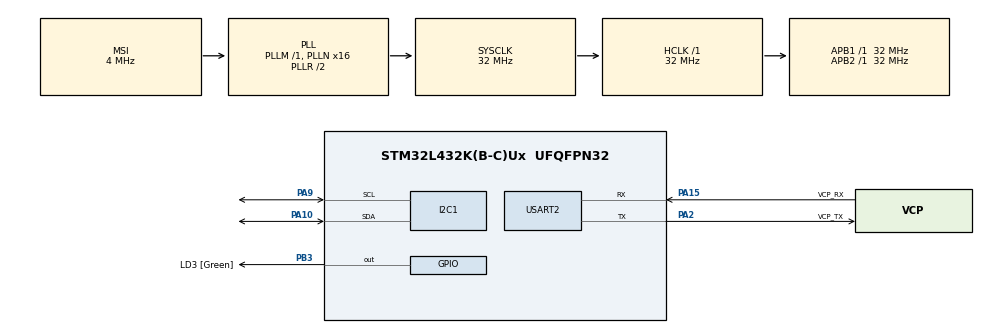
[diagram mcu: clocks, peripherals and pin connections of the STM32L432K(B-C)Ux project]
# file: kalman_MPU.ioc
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I2C1.Timing=0x00707CBB
Mcu.Family=STM32L4
Mcu.Name=STM32L432K(B-C)Ux
Mcu.Package=UFQFPN32
NVIC.I2C1_ER_IRQn=true\:0\:0\:false\:false\:true\:true\:true\:true
NVIC.I2C1_EV_IRQn=true\:0\:0\:false\:false\:true\:true\:true\:true
NVIC.PriorityGroup=NVIC_PRIORITYGROUP_4
NVIC.USART2_IRQn=true\:0\:0\:false\:false\:true\:true\:true\:true
PA0.GPIO_Label=MCO [High speed clock in]
PA0.Signal=RCC_CK_IN
PA10.Mode=I2C
PA10.Signal=I2C1_SDA
PA13\ (JTMS-SWDIO).GPIO_Label=SWDIO
PA13\ (JTMS-SWDIO).Mode=Serial_Wire
PA13\ (JTMS-SWDIO).Signal=SYS_JTMS-SWDIO
PA14\ (JTCK-SWCLK).GPIO_Label=SWCLK
PA14\ (JTCK-SWCLK).Mode=Serial_Wire
PA14\ (JTCK-SWCLK).Signal=SYS_JTCK-SWCLK
PA15\ (JTDI).GPIO_Label=VCP_RX
PA15\ (JTDI).Mode=Asynchronous
PA15\ (JTDI).Signal=USART2_RX
PA2.GPIO_Label=VCP_TX
PA2.Mode=Asynchronous
PA2.Signal=USART2_TX
PA9.Mode=I2C
PA9.Signal=I2C1_SCL
PB3\ (JTDO-TRACESWO).GPIO_Label=LD3 [Green]
PB3\ (JTDO-TRACESWO).Signal=GPIO_Output
PC14-OSC32_IN\ (PC14).Signal=RCC_OSC32_IN
PC15-OSC32_OUT\ (PC15).Signal=RCC_OSC32_OUT
ProjectManager.HeapSize=0x200
ProjectManager.StackSize=0x400
ProjectManager.TargetToolchain=STM32CubeIDE
RCC.AHBFreq_Value=32000000
RCC.APB1Freq_Value=32000000
RCC.APB1TimFreq_Value=32000000
RCC.APB2Freq_Value=32000000
RCC.APB2TimFreq_Value=32000000
RCC.CortexFreq_Value=32000000
RCC.HCLKFreq_Value=32000000
RCC.HSE_VALUE=8000000
RCC.HSI16_VALUE=16000000
RCC.HSI48_VALUE=48000000
RCC.HSI_VALUE=16000000
RCC.MSI_VALUE=4000000
RCC.PLLMUL=RCC_PLLMUL_4
RCC.PLLN=16
RCC.SYSCLKFreq_VALUE=32000000
RCC.SYSCLKSource=RCC_SYSCLKSOURCE_PLLCLK
RCC.VCOOutputFreq_Value=64000000
USART2.VirtualMode-Asynchronous=VM_ASYNC
board=NUCLEO-L432KC

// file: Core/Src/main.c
/* USER CODE BEGIN Header */
/**
  ******************************************************************************
  * @file           : main.c
  * @brief          : Main program body
  ******************************************************************************
  * @attention
  *
  * Copyright (c) 2023 STMicroelectronics.
  * All rights reserved.
  *
  * This software is licensed under terms that can be found in the LICENSE file
  * in the root directory of this software component.
  * If no LICENSE file comes with this software, it is provided AS-IS.
  *
  ******************************************************************************
  */
/* USER CODE END Header */
#include "main.h"

/* USER CODE BEGIN Includes */
#include "MPU6050.h"
#include "math.h"
#define _USE_MATH_DEFINES
#include "micros.h"
#include <stdio.h>
/* USER CODE END Includes */

I2C_HandleTypeDef hi2c1;

UART_HandleTypeDef huart2;

void SystemClock_Config(void);
static void MX_GPIO_Init(void);
static void MX_USART2_UART_Init(void);
static void MX_I2C1_Init(void);

/* USER CODE BEGIN 0 */
#ifdef __GNUC__

#define PUTCHAR_PROTOTYPE int __io_putchar(int ch)
#else
#define PUTCHAR_PROTOTYPE int fputc(int ch, FILE *f)
#endif /*__GNUC__*/
PUTCHAR_PROTOTYPE
{

	HAL_UART_Transmit(&huart2,(uint8_t*)&ch, 1 ,0xFFFF);

	return ch;

}
int16_t Ac_X0, Ac_Y0, Ac_Z0, Gy_X0, Gy_Y0, Gy_Z0;
uint8_t MPU6050 = 0;
//#define MPU6050  MPU6050_DEFAULT_ADDRESS

void MPU6050_Write(uint8_t Address, uint8_t data){
  HAL_I2C_Mem_Write(&hi2c1, MPU6050, Address, 1, (uint8_t *)&data, 1, 10);
}

void MPU6050_Write_bits(uint8_t Address, uint8_t bitStart, uint8_t length, uint8_t data){
  uint8_t tmp = 0;
  HAL_I2C_Mem_Read(&hi2c1, MPU6050, Address, 1, (uint8_t *)&tmp, 1, 10);
  uint8_t mask = 0;
  switch(length){
    case 1: mask = 0x01; break;
    case 2: mask = 0x03; break;
    case 3: mask = 0x07; break;
    case 4: mask = 0x0F; break;
    case 5: mask = 0x1F; break;
    case 6: mask = 0x3F; break;
    case 7: mask = 0x7F; break;
    case 8: mask = 0xFF; break;
  }
  tmp &= ~(mask << bitStart);
  tmp |= (data << bitStart);
  HAL_I2C_Mem_Write(&hi2c1, MPU6050, Address, 1, (uint8_t *)&tmp, 1, 10);
}

uint8_t MPU6050_Read(uint8_t Address){
  uint8_t data;
  HAL_I2C_Mem_Read(&hi2c1, MPU6050, Address, 1, (uint8_t *)&data, 1, 10);
  return data;
}

void init_MPU6050(void){
  while(HAL_I2C_IsDeviceReady(&hi2c1, MPU6050, 10, 1000)!=HAL_OK) {
    MPU6050++;
  }
  printf("MPU6050 I2C Address is 0x%02X(7bit value)\r\n", MPU6050>>1);

  uint8_t temp = MPU6050_Read(MPU6050_RA_WHO_AM_I);
  printf("Who am I = 0x%02X\r\n", temp);
  printf("MPU6050 Initialize..... \r\n");
  printf("--------------------------------------------------------\r\n");

  HAL_Delay(100);
  /* Power Management 1, SLEEP Diasble*/
  MPU6050_Write_bits(MPU6050_RA_PWR_MGMT_1, MPU6050_PWR1_SLEEP_BIT, MPU6050_PWR1_SLEEP_LENGTH, DISABLE);
  HAL_Delay(10);
  /* Power Management 1, Internal 8MHz oscillator */
  MPU6050_Write_bits(MPU6050_RA_PWR_MGMT_1, MPU6050_PWR1_CLKSEL_BIT, MPU6050_PWR1_CLKSEL_LENGTH, MPU6050_CLOCK_INTERNAL);
  /* Gyroscope Configuration, ± 250 °/s, 131 LSB/°/s */
  MPU6050_Write_bits(MPU6050_RA_GYRO_CONFIG, MPU6050_GCONFIG_FS_SEL_BIT, MPU6050_GCONFIG_FS_SEL_LENGTH, MPU6050_GYRO_FS_250);
  /* Accelerometer Configuration, ± 2g, 16384 LSB/g */
  MPU6050_Write_bits(MPU6050_RA_ACCEL_CONFIG, MPU6050_ACONFIG_AFS_SEL_BIT, MPU6050_ACONFIG_AFS_SEL_LENGTH, MPU6050_ACCEL_FS_2);
}

void read_MPU6050_data(void){
  Ac_X0 = (MPU6050_Read(MPU6050_RA_ACCEL_XOUT_H)<<8) | MPU6050_Read(MPU6050_RA_ACCEL_XOUT_L);
  Ac_Y0 = (MPU6050_Read(MPU6050_RA_ACCEL_YOUT_H)<<8) | MPU6050_Read(MPU6050_RA_ACCEL_YOUT_L);
  Ac_Z0 = (MPU6050_Read(MPU6050_RA_ACCEL_ZOUT_H)<<8) | MPU6050_Read(MPU6050_RA_ACCEL_ZOUT_L);
  Gy_X0 = (MPU6050_Read(MPU6050_RA_GYRO_XOUT_H)<<8) | MPU6050_Read(MPU6050_RA_GYRO_XOUT_L);
  Gy_Y0 = (MPU6050_Read(MPU6050_RA_GYRO_YOUT_H)<<8) | MPU6050_Read(MPU6050_RA_GYRO_YOUT_L);
  Gy_Z0 = (MPU6050_Read(MPU6050_RA_GYRO_ZOUT_H)<<8) | MPU6050_Read(MPU6050_RA_GYRO_ZOUT_L);
}

int _write(int32_t file, uint8_t *ptr, int32_t len){
  HAL_UART_Transmit(&huart2, ptr, len, 10);
  return len;
}
//칼만 필터 관련 변수 및 함수
double Q_angle, Q_gyro, R_measure ;
double angle, bias ;
double P[2][2], K[2] ;
double deg,dgy_y;
double dt;
double val;
double getkalman(double acc, double gyro, double dt)
{
	//project the state ahead

	      angle += dt * (gyro - bias) ;

	      //Project the error covariance ahead

	      P[0][0] += dt * (dt * P[1][1] - P[0][1] - P[1][0] + Q_angle) ;

	      P[0][1] -= dt * P[1][1] ;

	      P[1][0] -= dt * P[1][1] ;

	      P[1][1] += Q_gyro * dt ;

	      //Compute the Kalman gain

	      double S = P[0][0] + R_measure ;

	      K[0] = P[0][0] / S ;

	      K[1] = P[1][0] / S ;

	      //Update estimate with measurement z

	      double y = acc - angle ;

	      angle += K[0] * y ;

	      bias += K[1] * y ;

	      //Update the error covariance

	      double P_temp[2] = {P[0][0], P[0][1]} ;

	      P[0][0] -= K[0] * P_temp[0] ;

	      P[0][1] -= K[0] * P_temp[1] ;

	      P[1][0] -= K[1] * P_temp[0] ;

	      P[1][1] -= K[1] * P_temp[1] ;

	      return angle ;
}
double getvar(int num)
{
    switch (num) {
      case 0 :
    	  return Q_angle ;
    	  break ;

      case 1 :
    	  return Q_gyro ;
    	  break ;

      case 2 :
    	  return R_measure ;
    	  break ;

    }
}
void kal_init(double angle, double gyro, double measure)
{
	Q_angle = angle ;
	Q_gyro = gyro ;
	R_measure = measure ;

	angle = 0 ;
	bias = 0 ;

	P[0][0] = 0 ;
	P[0][1] = 0 ;
	P[1][0] = 0 ;
	P[1][1] = 0 ;
}

/* USER CODE END 0 */

int main(void)
{

  /* MCU Configuration--------------------------------------------------------*/

  /* Reset of all peripherals, Initializes the Flash interface and the Systick. */
  HAL_Init();

  /* USER CODE BEGIN Init */
  uint32_t pasttime = 0;

  /* USER CODE END Init */

  /* Configure the system clock */
  SystemClock_Config();

  /* Initialize all configured peripherals */
  MX_GPIO_Init();
  MX_USART2_UART_Init();
  MX_I2C1_Init();
  /* USER CODE BEGIN 2 */
  init_MPU6050();
  DWT_Init();
  kal_init(0.001, 0.003, 0.03);
  /* USER CODE END 2 */

  /* Infinite loop */
  /* USER CODE BEGIN WHILE */
  while (1)
  {
	  	 static uint16_t cnt=1;
	     HAL_GPIO_WritePin(LD3_GPIO_Port, LD3_Pin, GPIO_PIN_SET);
	     read_MPU6050_data();
	     deg = atan2(Ac_X0,Ac_Z0)*180/M_PI;// acc data to degree data
	     dgy_y = Gy_Y0/131.;				   // gyro output to

	     dt = (double)(micros()-pasttime)/1000000;
	     pasttime = micros();
	     val = getkalman(deg, dgy_y, dt);//get kalman data
	     printf("kalman degree : %5.2f , dt = %5.4f\r\n",val,dt);

	     HAL_GPIO_WritePin(LD3_GPIO_Port, LD3_Pin, GPIO_PIN_RESET);
	     HAL_Delay(5);
	     if(++cnt>20) cnt=20;
    /* USER CODE END WHILE */

  }
}

void SystemClock_Config(void)
{
  RCC_OscInitTypeDef RCC_OscInitStruct = {0};
  RCC_ClkInitTypeDef RCC_ClkInitStruct = {0};

  /** Configure the main internal regulator output voltage
  */
  if (HAL_PWREx_ControlVoltageScaling(PWR_REGULATOR_VOLTAGE_SCALE1) != HAL_OK)
  {
    Error_Handler();
  }

  /** Initializes the RCC Oscillators according to the specified parameters
  * in the RCC_OscInitTypeDef structure.
  */
  RCC_OscInitStruct.OscillatorType = RCC_OSCILLATORTYPE_MSI;
  RCC_OscInitStruct.MSIState = RCC_MSI_ON;
  RCC_OscInitStruct.MSICalibrationValue = 0;
  RCC_OscInitStruct.MSIClockRange = RCC_MSIRANGE_6;
  RCC_OscInitStruct.PLL.PLLState = RCC_PLL_ON;
  RCC_OscInitStruct.PLL.PLLSource = RCC_PLLSOURCE_MSI;
  RCC_OscInitStruct.PLL.PLLM = 1;
  RCC_OscInitStruct.PLL.PLLN = 16;
  RCC_OscInitStruct.PLL.PLLP = RCC_PLLP_DIV7;
  RCC_OscInitStruct.PLL.PLLQ = RCC_PLLQ_DIV2;
  RCC_OscInitStruct.PLL.PLLR = RCC_PLLR_DIV2;
  if (HAL_RCC_OscConfig(&RCC_OscInitStruct) != HAL_OK)
  {
    Error_Handler();
  }

  /** Initializes the CPU, AHB and APB buses clocks
  */
  RCC_ClkInitStruct.ClockType = RCC_CLOCKTYPE_HCLK|RCC_CLOCKTYPE_SYSCLK
                              |RCC_CLOCKTYPE_PCLK1|RCC_CLOCKTYPE_PCLK2;
  RCC_ClkInitStruct.SYSCLKSource = RCC_SYSCLKSOURCE_PLLCLK;
  RCC_ClkInitStruct.AHBCLKDivider = RCC_SYSCLK_DIV1;
  RCC_ClkInitStruct.APB1CLKDivider = RCC_HCLK_DIV1;
  RCC_ClkInitStruct.APB2CLKDivider = RCC_HCLK_DIV1;

  if (HAL_RCC_ClockConfig(&RCC_ClkInitStruct, FLASH_LATENCY_1) != HAL_OK)
  {
    Error_Handler();
  }
}

static void MX_I2C1_Init(void)
{

  hi2c1.Instance = I2C1;
  hi2c1.Init.Timing = 0x00707CBB;
  hi2c1.Init.OwnAddress1 = 0;
  hi2c1.Init.AddressingMode = I2C_ADDRESSINGMODE_7BIT;
  hi2c1.Init.DualAddressMode = I2C_DUALADDRESS_DISABLE;
  hi2c1.Init.OwnAddress2 = 0;
  hi2c1.Init.OwnAddress2Masks = I2C_OA2_NOMASK;
  hi2c1.Init.GeneralCallMode = I2C_GENERALCALL_DISABLE;
  hi2c1.Init.NoStretchMode = I2C_NOSTRETCH_DISABLE;
  if (HAL_I2C_Init(&hi2c1) != HAL_OK)
  {
    Error_Handler();
  }

  /** Configure Analogue filter
  */
  if (HAL_I2CEx_ConfigAnalogFilter(&hi2c1, I2C_ANALOGFILTER_ENABLE) != HAL_OK)
  {
    Error_Handler();
  }

  /** Configure Digital filter
  */
  if (HAL_I2CEx_ConfigDigitalFilter(&hi2c1, 0) != HAL_OK)
  {
    Error_Handler();
  }

}

static void MX_USART2_UART_Init(void)
{

  huart2.Instance = USART2;
  huart2.Init.BaudRate = 115200;
  huart2.Init.WordLength = UART_WORDLENGTH_8B;
  huart2.Init.StopBits = UART_STOPBITS_1;
  huart2.Init.Parity = UART_PARITY_NONE;
  huart2.Init.Mode = UART_MODE_TX_RX;
  huart2.Init.HwFlowCtl = UART_HWCONTROL_NONE;
  huart2.Init.OverSampling = UART_OVERSAMPLING_16;
  huart2.Init.OneBitSampling = UART_ONE_BIT_SAMPLE_DISABLE;
  huart2.AdvancedInit.AdvFeatureInit = UART_ADVFEATURE_NO_INIT;
  if (HAL_UART_Init(&huart2) != HAL_OK)
  {
    Error_Handler();
  }

}

static void MX_GPIO_Init(void)
{
  GPIO_InitTypeDef GPIO_InitStruct = {0};

  /* GPIO Ports Clock Enable */
  __HAL_RCC_GPIOC_CLK_ENABLE();
  __HAL_RCC_GPIOA_CLK_ENABLE();
  __HAL_RCC_GPIOB_CLK_ENABLE();

  /*Configure GPIO pin Output Level */
  HAL_GPIO_WritePin(LD3_GPIO_Port, LD3_Pin, GPIO_PIN_RESET);

  /*Configure GPIO pin : LD3_Pin */
  GPIO_InitStruct.Pin = LD3_Pin;
  GPIO_InitStruct.Mode = GPIO_MODE_OUTPUT_PP;
  GPIO_InitStruct.Pull = GPIO_NOPULL;
  GPIO_InitStruct.Speed = GPIO_SPEED_FREQ_LOW;
  HAL_GPIO_Init(LD3_GPIO_Port, &GPIO_InitStruct);

}

void Error_Handler(void)
{
  __disable_irq();
  while (1)
  {
  }
}
